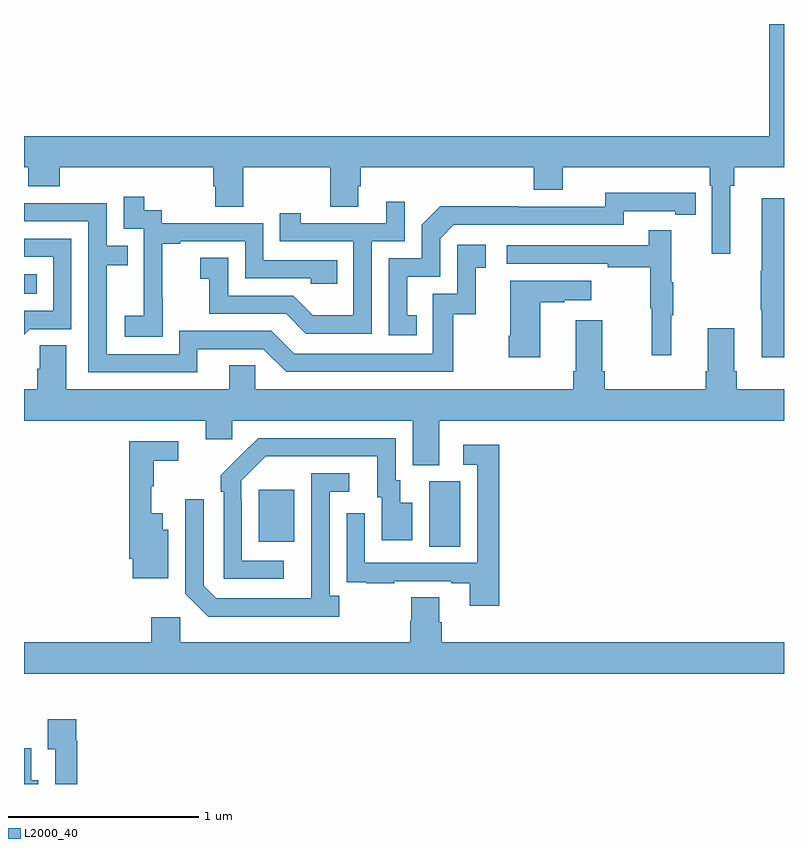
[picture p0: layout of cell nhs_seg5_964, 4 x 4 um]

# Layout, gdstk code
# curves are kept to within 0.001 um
import gdstk
lib = gdstk.Library(unit=1e-6, precision=1e-09)
def R(c, l, rs):  # rectangles x0, y0, x1, y1
    for r in rs: c.add(gdstk.rectangle(r[:2], r[2:], *l))
def P(c, l, *ps):  # polygons
    for p in ps: c.add(gdstk.Polygon(p, *l))
L2000_40 = (2000, 40)

nhs_seg5_964 = lib.new_cell('nhs_seg5_964')
R(nhs_seg5_964, L2000_40, [(173.132,904.048,173.296,904.392), (172.235,904.073,172.423,904.348), (171,905.378,171.068,905.482)])
P(nhs_seg5_964, L2000_40, [(171,906.044),(171.023,906.044),(171.023,905.945),(171.188,905.945),(171.188,906.044),(171.995,906.044),(171.995,905.946),(172.007,905.946),(172.007,905.836),(172.155,905.836),(172.155,906.044),(172.612,906.044),(172.612,905.836),(172.759,905.836),(172.759,905.946),(172.772,905.946),(172.772,906.044),(173.684,906.044),(173.684,905.927),(173.836,905.927),(173.836,906.044),(174.608,906.044),(174.608,905.948),(174.621,905.948),(174.621,905.589),(174.718,905.589),(174.718,905.948),(174.737,905.948),(174.737,906.044),(175,906.044),(175,906.799),(174.923,906.799),(174.923,906.208),(171,906.208)],
  [(173.066,905.265),(173.017,905.265),(173.017,905.469),(173.19,905.469),(173.19,905.67),(173.262,905.742),(174.156,905.742),(174.156,905.814),(174.428,905.814),(174.428,905.794),(174.536,905.794),(174.536,905.91),(174.06,905.911),(174.06,905.838),(173.6,905.838),(173.6,905.84),(173.192,905.84),(173.094,905.742),(173.094,905.565),(172.92,905.565),(172.92,905.16),(173.066,905.16)],
  [(171.729,905.359),(171.728,905.359),(171.728,905.643),(171.823,905.643),(171.823,905.655),(172.164,905.655),(172.164,905.46),(172.509,905.46),(172.509,905.433),(172.649,905.433),(172.649,905.556),(172.26,905.556),(172.26,905.751),(171.726,905.751),(171.726,905.82),(171.634,905.82),(171.634,905.89),(171.525,905.89),(171.525,905.721),(171.63,905.721),(171.63,905.492),(171.629,905.492),(171.629,905.263),(171.531,905.263),(171.531,905.153),(171.729,905.153)],
  [(175,905.881),(174.884,905.881),(174.884,905.501),(174.877,905.501),(174.877,905.295),(174.884,905.295),(174.884,905.046),(175,905.046)],
  [(172.83,905.655),(173.004,905.655),(173.004,905.863),(172.907,905.863),(172.907,905.751),(172.456,905.751),(172.456,905.803),(172.345,905.803),(172.345,905.655),(172.734,905.655),(172.734,905.266),(172.52,905.266),(172.416,905.37),(172.074,905.37),(172.074,905.569),(171.927,905.569),(171.927,905.459),(171.976,905.459),(171.976,905.274),(172.379,905.274),(172.484,905.169),(172.83,905.169)],
  [(171.913,905.088),(172.26,905.088),(172.38,904.968),(173.26,904.968),(173.26,905.271),(173.378,905.271),(173.378,905.517),(173.431,905.517),(173.431,905.638),(173.28,905.638),(173.28,905.379),(173.151,905.379),(173.151,905.064),(172.422,905.064),(172.302,905.184),(171.816,905.184),(171.816,905.061),(171.435,905.061),(171.435,905.53),(171.545,905.53),(171.545,905.631),(171.435,905.631),(171.435,905.856),(171,905.856),(171,905.76),(171.339,905.76),(171.339,904.965),(171.913,904.965)],
  [(174.407,905.267),(174.418,905.267),(174.418,905.441),(174.407,905.441),(174.407,905.713),(174.289,905.713),(174.289,905.634),(173.541,905.634),(173.541,905.538),(174.073,905.538),(174.073,905.518),(174.297,905.518),(174.297,905.304),(174.304,905.304),(174.304,905.055),(174.407,905.055)],
  [(171.03,905.193),(171.249,905.193),(171.249,905.67),(171,905.67),(171,905.574),(171.153,905.574),(171.153,905.289),(171,905.289),(171,905.163)],
  [(173.716,905.335),(173.843,905.335),(173.843,905.345),(173.986,905.345),(173.986,905.449),(173.558,905.449),(173.558,905.158),(173.551,905.158),(173.551,905.046),(173.716,905.046)],
  [(173.185,904.712),(175,904.712),(175,904.876),(174.752,904.876),(174.752,904.972),(174.739,904.972),(174.739,905.197),(174.599,905.197),(174.599,904.972),(174.587,904.972),(174.587,904.876),(174.056,904.876),(174.056,904.972),(174.043,904.972),(174.043,905.239),(173.903,905.239),(173.903,904.972),(173.891,904.972),(173.891,904.876),(172.218,904.876),(172.218,905.003),(172.079,905.003),(172.079,904.876),(171.223,904.876),(171.223,905.108),(171.084,905.108),(171.084,904.985),(171.071,904.985),(171.071,904.876),(171,904.876),(171,904.712),(171.956,904.712),(171.956,904.614),(172.095,904.614),(172.095,904.712),(173.045,904.712),(173.045,904.477),(173.185,904.477)],
  [(172.366,903.975),(172.146,903.975),(172.146,904.295),(172.143,904.295),(172.143,904.395),(172.272,904.524),(172.859,904.524),(172.859,904.308),(172.883,904.308),(172.883,904.083),(173.044,904.083),(173.044,904.279),(172.981,904.279),(172.981,904.398),(172.956,904.398),(172.956,904.62),(172.232,904.62),(172.035,904.425),(172.035,904.337),(172.05,904.337),(172.05,903.879),(172.366,903.879)],
  [(171.76,904.138),(171.73,904.138),(171.73,904.225),(171.671,904.225),(171.671,904.365),(171.682,904.365),(171.682,904.501),(171.811,904.501),(171.811,904.602),(171.553,904.602),(171.553,903.985),(171.572,903.985),(171.572,903.881),(171.76,903.881)],
  [(173.501,904.585),(173.313,904.585),(173.313,904.479),(173.385,904.479),(173.385,903.963),(172.794,903.963),(172.794,904.225),(172.698,904.225),(172.698,903.97),(172.699,903.97),(172.699,903.861),(172.801,903.861),(172.801,903.855),(172.949,903.855),(172.949,903.867),(173.249,903.867),(173.249,903.855),(173.345,903.855),(173.345,903.738),(173.501,903.738)],
  [(172.66,903.79),(172.608,903.79),(172.608,904.338),(172.711,904.338),(172.711,904.434),(172.512,904.434),(172.511,903.777),(172.011,903.777),(171.945,903.843),(171.945,904.297),(171.849,904.297),(171.849,903.801),(171.97,903.68),(172.66,903.68)],
  [(175,903.544),(173.198,903.544),(173.198,903.65),(173.185,903.65),(173.185,903.782),(173.038,903.782),(173.038,903.657),(173.033,903.657),(173.033,903.544),(171.822,903.544),(171.822,903.676),(171.671,903.676),(171.671,903.544),(171,903.544),(171,903.38),(175,903.38)],
  [(171.281,903.026),(171.274,903.026),(171.274,903.139),(171.125,903.139),(171.125,902.983),(171.165,902.983),(171.165,902.799),(171.281,902.799)],
  [(171.076,902.818),(171.037,902.818),(171.037,902.986),(171,902.986),(171,902.799),(171.076,902.799)])

lib.write_gds('nhs_seg5_964.gds')
